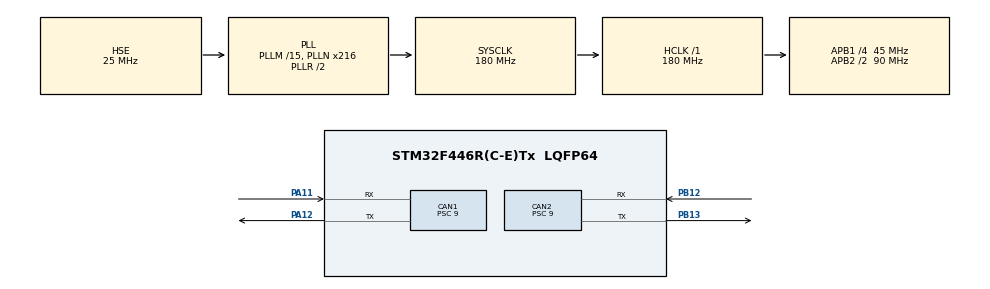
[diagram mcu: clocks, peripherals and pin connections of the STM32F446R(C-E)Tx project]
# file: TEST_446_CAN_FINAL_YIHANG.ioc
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CAN1.BS1=CAN_BS1_2TQ
CAN1.BS2=CAN_BS2_2TQ
CAN1.CalculateBaudRate=1000000
CAN1.CalculateTimeBit=1000
CAN1.CalculateTimeQuantum=200.0
CAN1.Prescaler=9
CAN2.BS1=CAN_BS1_2TQ
CAN2.BS2=CAN_BS2_2TQ
CAN2.CalculateBaudRate=1000000
CAN2.CalculateTimeBit=1000
CAN2.CalculateTimeQuantum=200.0
CAN2.Prescaler=9
Mcu.Family=STM32F4
Mcu.Name=STM32F446R(C-E)Tx
Mcu.Package=LQFP64
NVIC.CAN1_RX0_IRQn=true\:0\:0\:false\:false\:true\:true\:true\:true
NVIC.CAN1_SCE_IRQn=true\:0\:0\:false\:false\:true\:true\:true\:true
NVIC.CAN2_RX1_IRQn=true\:0\:0\:false\:false\:true\:true\:true\:true
NVIC.CAN2_SCE_IRQn=true\:0\:0\:false\:false\:true\:true\:true\:true
NVIC.PriorityGroup=NVIC_PRIORITYGROUP_4
PA11.Mode=CAN_Activate
PA11.Signal=CAN1_RX
PA12.Mode=CAN_Activate
PA12.Signal=CAN1_TX
PA13.Mode=Serial_Wire
PA13.Signal=SYS_JTMS-SWDIO
PA14.Mode=Serial_Wire
PA14.Signal=SYS_JTCK-SWCLK
PB12.Mode=CAN_Activate
PB12.Signal=CAN2_RX
PB13.Mode=CAN_Activate
PB13.Signal=CAN2_TX
PH0-OSC_IN.Mode=HSE-External-Oscillator
PH0-OSC_IN.Signal=RCC_OSC_IN
PH1-OSC_OUT.Mode=HSE-External-Oscillator
PH1-OSC_OUT.Signal=RCC_OSC_OUT
ProjectManager.HeapSize=0x200
ProjectManager.StackSize=0x400
ProjectManager.TargetToolchain=MDK-ARM V5.32
RCC.AHBFreq_Value=180000000
RCC.APB1CLKDivider=RCC_HCLK_DIV4
RCC.APB1Freq_Value=45000000
RCC.APB1TimFreq_Value=90000000
RCC.APB2CLKDivider=RCC_HCLK_DIV2
RCC.APB2Freq_Value=90000000
RCC.APB2TimFreq_Value=180000000
RCC.CortexFreq_Value=180000000
RCC.HCLKFreq_Value=180000000
RCC.PLLM=15
RCC.PLLN=216
RCC.PLLSourceVirtual=RCC_PLLSOURCE_HSE
RCC.SYSCLKFreq_VALUE=180000000
RCC.SYSCLKSource=RCC_SYSCLKSOURCE_PLLRCLK
RCC.USBFreq_Value=180000000
RCC.VCOOutputFreq_Value=360000000
board=custom

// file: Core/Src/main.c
/* USER CODE BEGIN Header */
/**
  ******************************************************************************
  * @file           : main.c
  * @brief          : Main program body
  ******************************************************************************
  * @attention
  *
  * Copyright (c) 2023 STMicroelectronics.
  * All rights reserved.
  *
  * This software is licensed under terms that can be found in the LICENSE file
  * in the root directory of this software component.
  * If no LICENSE file comes with this software, it is provided AS-IS.
  *
  ******************************************************************************
  */
/* USER CODE END Header */
#include "main.h"
#include "can.h"
#include "gpio.h"

/* USER CODE BEGIN Includes */
#include "can_bsp.h"
#include "GM6020.h"
/* USER CODE END Includes */

void SystemClock_Config(void);

int main(void)
{

  /* MCU Configuration--------------------------------------------------------*/

  /* Reset of all peripherals, Initializes the Flash interface and the Systick. */
  HAL_Init();

  /* Configure the system clock */
  SystemClock_Config();

  /* Initialize all configured peripherals */
  MX_GPIO_Init();
  MX_CAN1_Init();
  MX_CAN2_Init();
  /* USER CODE BEGIN 2 */
	CAN_Init(&hcan1);
	CAN_Init(&hcan2);
  /* USER CODE END 2 */

  /* Infinite loop */
  while (1)
  {

    /* USER CODE BEGIN 3 */
		GM6020_Set_Speed(150, 3);
		HAL_Delay(10);
  }
  /* USER CODE END 3 */
}

void SystemClock_Config(void)
{
  RCC_OscInitTypeDef RCC_OscInitStruct = {0};
  RCC_ClkInitTypeDef RCC_ClkInitStruct = {0};

  /** Configure the main internal regulator output voltage
  */
  __HAL_RCC_PWR_CLK_ENABLE();
  __HAL_PWR_VOLTAGESCALING_CONFIG(PWR_REGULATOR_VOLTAGE_SCALE1);

  /** Initializes the RCC Oscillators according to the specified parameters
  * in the RCC_OscInitTypeDef structure.
  */
  RCC_OscInitStruct.OscillatorType = RCC_OSCILLATORTYPE_HSE;
  RCC_OscInitStruct.HSEState = RCC_HSE_ON;
  RCC_OscInitStruct.PLL.PLLState = RCC_PLL_ON;
  RCC_OscInitStruct.PLL.PLLSource = RCC_PLLSOURCE_HSE;
  RCC_OscInitStruct.PLL.PLLM = 15;
  RCC_OscInitStruct.PLL.PLLN = 216;
  RCC_OscInitStruct.PLL.PLLP = RCC_PLLP_DIV2;
  RCC_OscInitStruct.PLL.PLLQ = 2;
  RCC_OscInitStruct.PLL.PLLR = 2;
  if (HAL_RCC_OscConfig(&RCC_OscInitStruct) != HAL_OK)
  {
    Error_Handler();
  }

  /** Activate the Over-Drive mode
  */
  if (HAL_PWREx_EnableOverDrive() != HAL_OK)
  {
    Error_Handler();
  }

  /** Initializes the CPU, AHB and APB buses clocks
  */
  RCC_ClkInitStruct.ClockType = RCC_CLOCKTYPE_HCLK|RCC_CLOCKTYPE_SYSCLK
                              |RCC_CLOCKTYPE_PCLK1|RCC_CLOCKTYPE_PCLK2;
  RCC_ClkInitStruct.SYSCLKSource = RCC_SYSCLKSOURCE_PLLRCLK;
  RCC_ClkInitStruct.AHBCLKDivider = RCC_SYSCLK_DIV1;
  RCC_ClkInitStruct.APB1CLKDivider = RCC_HCLK_DIV4;
  RCC_ClkInitStruct.APB2CLKDivider = RCC_HCLK_DIV2;

  if (HAL_RCC_ClockConfig(&RCC_ClkInitStruct, FLASH_LATENCY_5) != HAL_OK)
  {
    Error_Handler();
  }
}

/* USER CODE BEGIN 4 */
/*FIFO0的回调函数*/
void HAL_CAN_RxFifo1MsgPendingCallback(CAN_HandleTypeDef *hcan)
{
	if(hcan->Instance == hcan2.Instance)
	{
		CAN_RxHeaderTypeDef RxMessage;
	uint8_t RxData[8] = {0};

	HAL_CAN_GetRxMessage(hcan, CAN_RX_FIFO1, &RxMessage, RxData);
	/*自己写解析函数*/
	if(RxMessage.StdId>0x200&&RxMessage.StdId<0x209)
	{
		GM6020_Get_Feedback(RxMessage.StdId, RxData);
	}

	}
}
void HAL_CAN_RxFifo0MsgPendingCallback(CAN_HandleTypeDef *hcan)
{
	if(hcan->Instance == hcan1.Instance)
	{
		CAN_RxHeaderTypeDef RxMessage;
	uint8_t RxData[8] = {0};

	HAL_CAN_GetRxMessage(hcan, CAN_RX_FIFO0, &RxMessage, RxData);
	/*自己写解析函数*/
	if(RxMessage.StdId>0x200&&RxMessage.StdId<0x209)
	{
		GM6020_Get_Feedback(RxMessage.StdId, RxData);
	}

	}
}
/* USER CODE END 4 */

void Error_Handler(void)
{
  __disable_irq();
  while (1)
  {
  }
}
